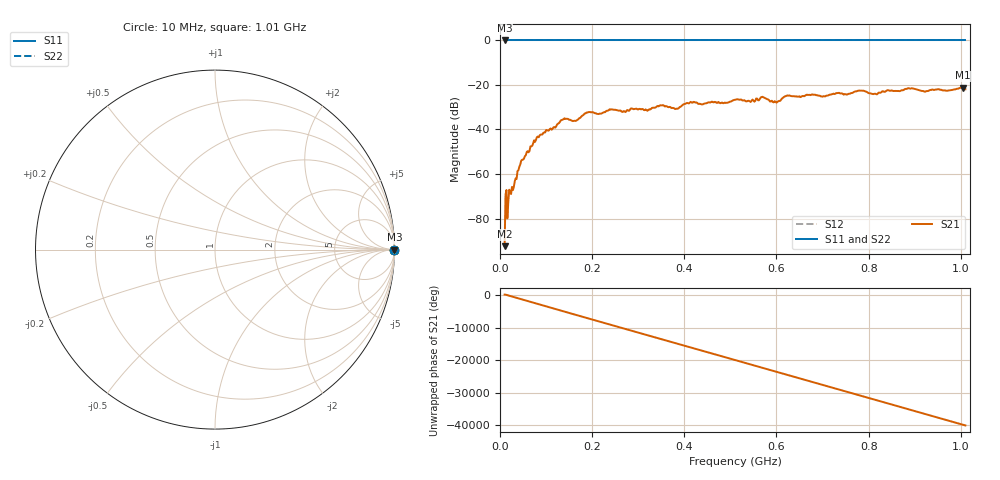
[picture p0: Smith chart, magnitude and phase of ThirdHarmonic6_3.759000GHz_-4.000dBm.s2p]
! 8/17/2025 12:54:33 PM
! C:\ANRITSUVNA\TEMP\TEMP.S2P
! CHANNEL.1
! TR.MEASUREMENT
! RAW.DATA
! RF.CORRECTION.OFF
! AVERAGING.OFF
! IF.BANDWIDTH: 5KHZ
! SWEEPTYPE:  FREQ.SWEEP(Linear)
! Reference Plane Port Info
! PORT:  PORT1  PORT2
! DISTANCE:  0  m  0  m
! TIME:  0  s  0  s
! PHASE.OFFSET:  0  deg.  0  deg.
! LOSS:  0  dB  0  dB
! REF.LOSS:  0  dB  0  dB
! REF.FREQ:  0  Hz  0  Hz
! Power Info
! POWER:  -20  dBm  -20  dBm
! EFF.POWER:  -20  dBm  -20  dBm
! SOURCE.ATTEN:  0  dB  0  dB
! TEST.ATTEN:  0  dB  0  dB
# GHZ S RI R 50.0
! FREQ.GHZ  S11RE  S11IM  S21RE  S21IM  S12RE  S12IM  S22RE  S22IM
!; PortSelection: Port_12
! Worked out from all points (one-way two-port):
!   501 points, 10 MHz to 1.01 GHz, reference 50 ohm
!   highest |S21| = -21.23 dB at 1.004 GHz (marker M1); lowest = -92.4 dB at 10 MHz (marker M2)
!   lowest |S11| = 0.0 dB at 10 MHz (marker M3)
!   |S11| at or under -10 dB: nowhere
!   |S22| runs from 0.0 to 0.0 dB; largest |S21 - S12| = 1.1
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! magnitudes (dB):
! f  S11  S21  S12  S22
! 10 MHz  0.0  -92.4  0.0  0.0
! 16 MHz  0.0  -80.0  0.0  0.0
! 20 MHz  0.0  -67.1  0.0  0.0
! 22 MHz  0.0  -67.7  0.0  0.0
! 32 MHz  0.0  -63.3  0.0  0.0
! 46 MHz  0.0  -54.0  0.0  0.0
! 78 MHz  0.0  -44.7  0.0  0.0
! 136 MHz  0.0  -35.6  0.0  0.0
! 162 MHz  0.0  -36.1  0.0  0.0
! 178 MHz  0.0  -33.9  0.0  0.0
! 192 MHz  0.0  -32.2  0.0  0.0
! 344 MHz  0.0  -29.6  0.0  0.0
! 384 MHz  0.0  -30.6  0.0  0.0
! 416 MHz  0.0  -27.9  0.0  0.0
! 510 MHz  0.0  -26.6  0.0  0.0
! 570 MHz  0.0  -25.3  0.0  0.0
! 598 MHz  0.0  -27.6  0.0  0.0
! 624 MHz  0.0  -24.7  0.0  0.0
! 678 MHz  0.0  -24.2  0.0  0.0
! 844 MHz  0.0  -22.5  0.0  0.0
! 1.004 GHz  0.0  -21.2  0.0  0.0
! 1.01 GHz  0.0  -21.9  0.0  0.0
